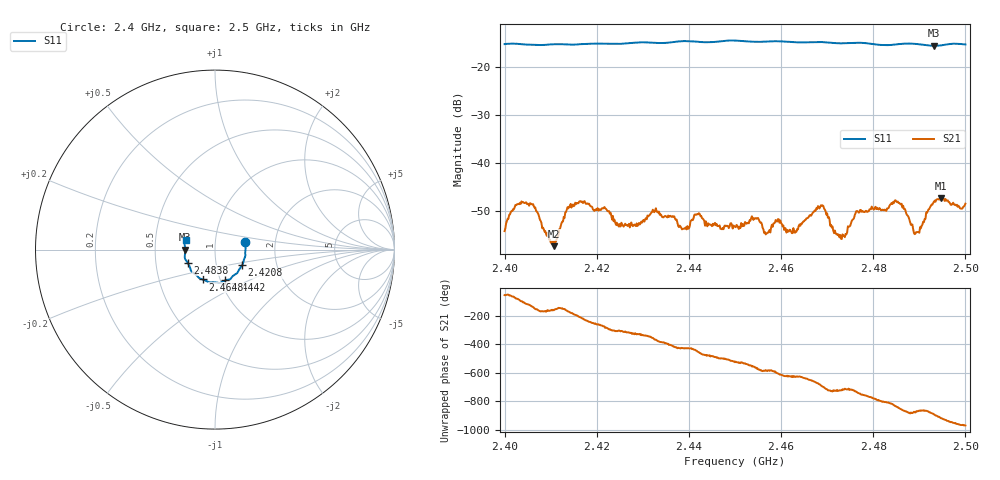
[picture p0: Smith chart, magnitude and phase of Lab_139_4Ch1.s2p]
# Hz S RI R 50
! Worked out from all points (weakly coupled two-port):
!   601 points, 2.4 GHz to 2.5 GHz, reference 50 ohm
!   highest |S21| = -47.39 dB at 2.4947 GHz (marker M1); lowest = -57.4 dB at 2.4107 GHz (marker M2)
!   lowest |S11| = -15.6 dB at 2.4932 GHz (marker M3), VSWR 1.40, Z = 35.8 - j0.0839 ohm
!   |S11| at or under -10 dB: start of sweep to end of sweep
!   S12 and S22 are empty: the file has one direction only
!   S11 on the Smith chart (normalised r, x): 2.4 GHz: 1.40, +0.12; 2.4208 GHz: 1.33, -0.24; 2.4442 GHz: 1.05, -0.37; 2.4648 GHz: 0.83, -0.28; 2.4838 GHz: 0.73, -0.11; 2.5 GHz: 0.72, +0.08
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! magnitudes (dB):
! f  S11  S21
! 2.4 GHz  -15.3  -54.3
! 2.4027 GHz  -15.2  -48.7
! 2.4057 GHz  -15.4  -48.5
! 2.4107 GHz  -15.3  -57.4
! 2.4138 GHz  -15.4  -49.5
! 2.4167 GHz  -15.3  -48.2
! 2.4208 GHz  -15.2  -49.9
! 2.4253 GHz  -15.2  -52.5
! 2.4333 GHz  -15.0  -50.4
! 2.4442 GHz  -14.9  -52.6
! 2.45 GHz  -14.5  -53.4
! 2.4648 GHz  -14.9  -52.2
! 2.4667 GHz  -14.8  -50.8
! 2.469 GHz  -14.8  -48.9
! 2.4733 GHz  -15.1  -55.0
! 2.4767 GHz  -15.0  -50.2
! 2.4833 GHz  -15.5  -49.5
! 2.4838 GHz  -15.4  -48.6
! 2.4893 GHz  -15.2  -54.5
! 2.4932 GHz  -15.6  -48.2
! 2.4947 GHz  -15.5  -47.4
! 2.5 GHz  -15.3  -48.6
